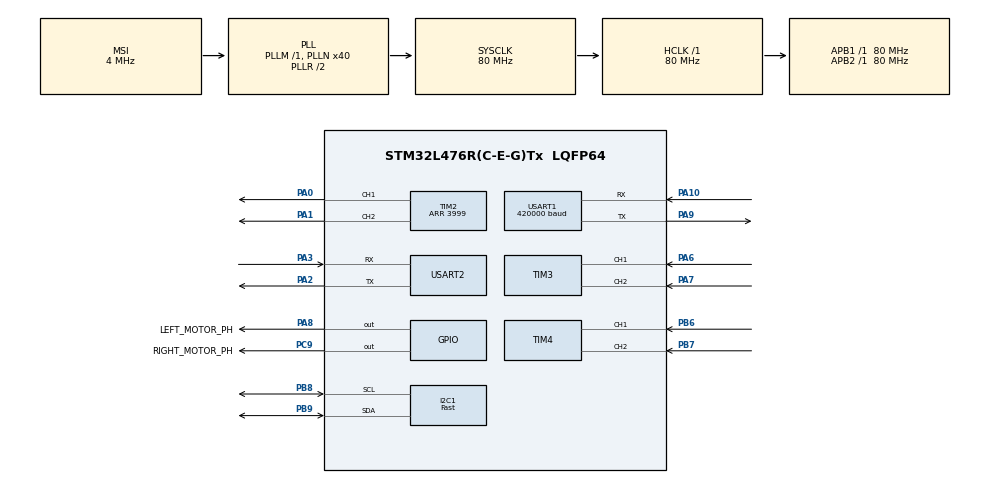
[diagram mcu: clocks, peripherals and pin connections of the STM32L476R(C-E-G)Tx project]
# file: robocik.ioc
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Dma.Request0=USART1_RX
Dma.USART1_RX.0.Direction=DMA_PERIPH_TO_MEMORY
Dma.USART1_RX.0.Instance=DMA1_Channel5
Dma.USART1_RX.0.MemDataAlignment=DMA_MDATAALIGN_BYTE
Dma.USART1_RX.0.MemInc=DMA_MINC_ENABLE
Dma.USART1_RX.0.Mode=DMA_NORMAL
Dma.USART1_RX.0.PeriphDataAlignment=DMA_PDATAALIGN_BYTE
Dma.USART1_RX.0.PeriphInc=DMA_PINC_DISABLE
Dma.USART1_RX.0.Priority=DMA_PRIORITY_LOW
FREERTOS.Tasks01=defaultTask,24,128,StartDefaultTask,Default,NULL,Dynamic,NULL,NULL
FREERTOS.configENABLE_FPU=1
FREERTOS.configTOTAL_HEAP_SIZE=16384
FREERTOS.configUSE_NEWLIB_REENTRANT=1
I2C1.I2C_Speed_Mode=I2C_Fast
I2C1.Timing=0x00F12981
Mcu.Family=STM32L4
Mcu.Name=STM32L476R(C-E-G)Tx
Mcu.Package=LQFP64
NVIC.DMA1_Channel5_IRQn=true\:5\:0\:false\:false\:true\:true\:false\:true\:true
NVIC.PriorityGroup=NVIC_PRIORITYGROUP_4
NVIC.TIM7_IRQn=true\:15\:0\:false\:false\:true\:false\:false\:true\:true
NVIC.TimeBase=TIM7_IRQn
NVIC.TimeBaseIP=TIM7
NVIC.USART1_IRQn=true\:5\:0\:false\:false\:true\:true\:true\:true\:true
PA0.Signal=S_TIM2_CH1
PA1.Signal=S_TIM2_CH2
PA10.Mode=Asynchronous
PA10.Signal=USART1_RX
PA2.Mode=Asynchronous
PA2.Signal=USART2_TX
PA3.Mode=Asynchronous
PA3.Signal=USART2_RX
PA6.Signal=S_TIM3_CH1
PA7.Signal=S_TIM3_CH2
PA8.GPIO_Label=LEFT_MOTOR_PH
PA8.Signal=GPIO_Output
PA9.Mode=Asynchronous
PA9.Signal=USART1_TX
PB6.Signal=S_TIM4_CH1
PB7.Signal=S_TIM4_CH2
PB8.Mode=I2C
PB8.Signal=I2C1_SCL
PB9.Mode=I2C
PB9.Signal=I2C1_SDA
PC9.GPIO_Label=RIGHT_MOTOR_PH
PC9.Signal=GPIO_Output
ProjectManager.HeapSize=0x200
ProjectManager.StackSize=0x400
ProjectManager.TargetToolchain=STM32CubeIDE
RCC.AHBFreq_Value=80000000
RCC.APB1Freq_Value=80000000
RCC.APB1TimFreq_Value=80000000
RCC.APB2Freq_Value=80000000
RCC.APB2TimFreq_Value=80000000
RCC.CortexFreq_Value=80000000
RCC.HCLKFreq_Value=80000000
RCC.HSE_VALUE=8000000
RCC.HSI_VALUE=16000000
RCC.LSE_VALUE=32768
RCC.MSI_VALUE=4000000
RCC.PLLN=40
RCC.SYSCLKFreq_VALUE=80000000
RCC.SYSCLKSource=RCC_SYSCLKSOURCE_PLLCLK
RCC.VCOOutputFreq_Value=160000000
SH.S_TIM2_CH1.0=TIM2_CH1,PWM Generation1 CH1
SH.S_TIM2_CH2.0=TIM2_CH2,PWM Generation2 CH2
SH.S_TIM3_CH1.0=TIM3_CH1,Encoder_Interface
SH.S_TIM3_CH2.0=TIM3_CH2,Encoder_Interface
SH.S_TIM4_CH1.0=TIM4_CH1,Encoder_Interface
SH.S_TIM4_CH2.0=TIM4_CH2,Encoder_Interface
TIM2.Channel-PWM\ Generation1\ CH1=TIM_CHANNEL_1
TIM2.Channel-PWM\ Generation2\ CH2=TIM_CHANNEL_2
TIM2.Period=3999
USART1.BaudRate=420000
USART1.Mode=MODE_RX
USART1.VirtualMode-Asynchronous=VM_ASYNC
USART2.VirtualMode-Asynchronous=VM_ASYNC
VP_FREERTOS_VS_CMSIS_V2.Mode=CMSIS_V2
VP_SYS_VS_tim7.Mode=TIM7
VP_TIM2_VS_ClockSourceINT.Mode=Internal
board=custom

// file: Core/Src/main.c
/* USER CODE BEGIN Header */
/**
  ******************************************************************************
  * @file           : main.c
  * @brief          : Main program body
  ******************************************************************************
  * @attention
  *
  * Copyright (c) 2026 STMicroelectronics.
  * All rights reserved.
  *
  * This software is licensed under terms that can be found in the LICENSE file
  * in the root directory of this software component.
  * If no LICENSE file comes with this software, it is provided AS-IS.
  *
  ******************************************************************************
  */
/* USER CODE END Header */
#include "main.h"
#include "cmsis_os.h"
#include "dma.h"
#include "i2c.h"
#include "tim.h"
#include "usart.h"
#include "gpio.h"

/* USER CODE BEGIN Includes */
#include "queue.h"
#include "stdio.h"
#include "control_task.h"
#include "communication_task.h"
#include "RC_Command.h"
/* USER CODE END Includes */

/* USER CODE BEGIN PV */
QueueHandle_t rcQueue;
/* USER CODE END PV */

void SystemClock_Config(void);
void MX_FREERTOS_Init(void);

/* USER CODE BEGIN 0 */

int __io_putchar(int16_t ch){
	if(ch == '\n') __io_putchar('\r');
	HAL_UART_Transmit(&huart2, (uint8_t*)&ch, 1, HAL_MAX_DELAY);
	return 1;
}

osThreadId_t controlTaskHandle;

const osThreadAttr_t controlTask_attributes = {
		.name = "vControlTask",
		.stack_size = 2048,
		.priority = (osPriority_t) osPriorityHigh
};

osThreadId_t CommunicationTaskHandle;

const osThreadAttr_t CommunicationTask_attributes = {
		.name = "vCommunicationTask",
		.stack_size = 2048,
		.priority = (osPriority_t) osPriorityLow
};

/* USER CODE END 0 */

int main(void)
{

  /* MCU Configuration--------------------------------------------------------*/

  /* Reset of all peripherals, Initializes the Flash interface and the Systick. */
  HAL_Init();

  /* Configure the system clock */
  SystemClock_Config();

  /* Initialize all configured peripherals */
  MX_GPIO_Init();
  MX_DMA_Init();
  MX_TIM3_Init();
  MX_USART2_UART_Init();
  MX_TIM4_Init();
  MX_I2C1_Init();
  MX_TIM2_Init();
  MX_USART1_UART_Init();
  /* USER CODE BEGIN 2 */

  controlTaskHandle = osThreadNew(vControlTask, NULL, &controlTask_attributes);

  CommunicationTaskHandle = osThreadNew(vCommunicationTask, NULL, &CommunicationTask_attributes);

  rcQueue = xQueueCreate(1, sizeof(RC_Command_t));

  /* USER CODE END 2 */

  /* Init scheduler */
  osKernelInitialize();

  /* Call init function for freertos objects (in cmsis_os2.c) */
  MX_FREERTOS_Init();

  /* Start scheduler */
  osKernelStart();

  /* We should never get here as control is now taken by the scheduler */

  /* Infinite loop */
  while (1)
  {

  }
}

void SystemClock_Config(void)
{
  RCC_OscInitTypeDef RCC_OscInitStruct = {0};
  RCC_ClkInitTypeDef RCC_ClkInitStruct = {0};

  /** Configure the main internal regulator output voltage
  */
  if (HAL_PWREx_ControlVoltageScaling(PWR_REGULATOR_VOLTAGE_SCALE1) != HAL_OK)
  {
    Error_Handler();
  }

  /** Initializes the RCC Oscillators according to the specified parameters
  * in the RCC_OscInitTypeDef structure.
  */
  RCC_OscInitStruct.OscillatorType = RCC_OSCILLATORTYPE_MSI;
  RCC_OscInitStruct.MSIState = RCC_MSI_ON;
  RCC_OscInitStruct.MSICalibrationValue = 0;
  RCC_OscInitStruct.MSIClockRange = RCC_MSIRANGE_6;
  RCC_OscInitStruct.PLL.PLLState = RCC_PLL_ON;
  RCC_OscInitStruct.PLL.PLLSource = RCC_PLLSOURCE_MSI;
  RCC_OscInitStruct.PLL.PLLM = 1;
  RCC_OscInitStruct.PLL.PLLN = 40;
  RCC_OscInitStruct.PLL.PLLP = RCC_PLLP_DIV7;
  RCC_OscInitStruct.PLL.PLLQ = RCC_PLLQ_DIV2;
  RCC_OscInitStruct.PLL.PLLR = RCC_PLLR_DIV2;
  if (HAL_RCC_OscConfig(&RCC_OscInitStruct) != HAL_OK)
  {
    Error_Handler();
  }

  /** Initializes the CPU, AHB and APB buses clocks
  */
  RCC_ClkInitStruct.ClockType = RCC_CLOCKTYPE_HCLK|RCC_CLOCKTYPE_SYSCLK
                              |RCC_CLOCKTYPE_PCLK1|RCC_CLOCKTYPE_PCLK2;
  RCC_ClkInitStruct.SYSCLKSource = RCC_SYSCLKSOURCE_PLLCLK;
  RCC_ClkInitStruct.AHBCLKDivider = RCC_SYSCLK_DIV1;
  RCC_ClkInitStruct.APB1CLKDivider = RCC_HCLK_DIV1;
  RCC_ClkInitStruct.APB2CLKDivider = RCC_HCLK_DIV1;

  if (HAL_RCC_ClockConfig(&RCC_ClkInitStruct, FLASH_LATENCY_4) != HAL_OK)
  {
    Error_Handler();
  }
}

void HAL_TIM_PeriodElapsedCallback(TIM_HandleTypeDef *htim)
{
  if (htim->Instance == TIM7) {
    HAL_IncTick();
  }
}

void Error_Handler(void)
{
  __disable_irq();
  while (1)
  {
  }
}
